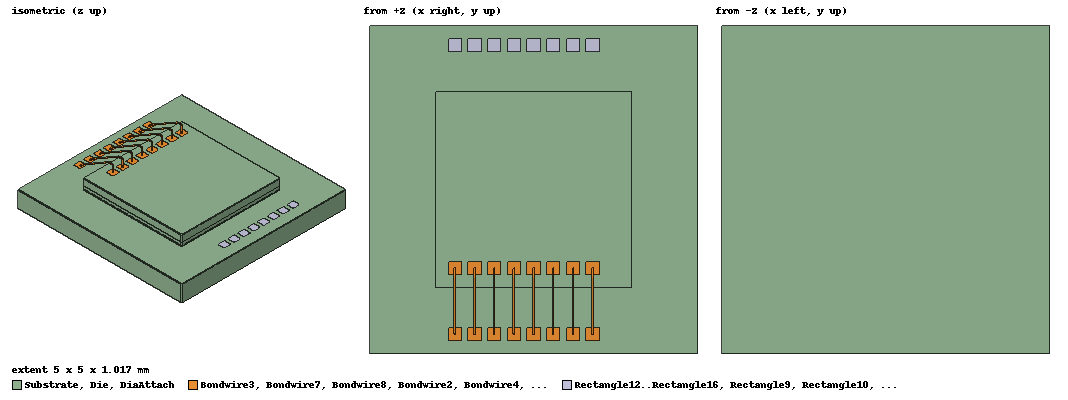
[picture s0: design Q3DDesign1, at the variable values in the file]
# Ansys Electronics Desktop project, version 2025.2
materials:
  Al-Extruded
  air: permittivity=1.0006 permeability=1.0000004
  vacuum: permittivity=1
  copper: permeability=0.999991 conductivity=58000000
  silicon: permittivity=11.9
  FR4_epoxy: permittivity=4.4 dielectric_loss_tangent=0.02
  modified_epoxy: permittivity=4.2 dielectric_loss_tangent=0.02
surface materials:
  Steel-oxidised-surface

design Q3DDesign1 (Q3D Extractor, model units mm)
options: SParamCalcMethod=EqTransLine Calculate_Lossy_Dielectrics
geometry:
  Die [silicon] = rectangle(corner=(0mm, 0mm, 0mm), x_size=3mm, y_size=3mm)
  Die.thicken(0.2mm)
  Substrate [FR4_epoxy] = rectangle(corner=(-1mm, -1mm, -0.1mm), x_size=5mm, y_size=5mm)
  Substrate.thicken(-0.5mm)
  DiaAttach [modified_epoxy] = rectangle(corner=(0mm, 0mm, 0mm), x_size=3mm, y_size=3mm)
  DiaAttach.thicken(-0.1mm)
  diebond [copper] = rectangle(corner=(0.2mm, 0.2mm, 0.2mm), x_size=0.2mm, y_size=0.2mm)
  diebond.thicken(0.005mm)
  substratebondpad [copper] = rectangle(corner=(0.5mm, -0.6mm, -0.1mm), x_size=0.2mm, y_size=-0.2mm)
  substratebondpad.thicken(0.005mm)
  Bondwire1 [copper] = bondwire(WireType=JEDEC_4Points WireDiameter=0.025mm NumSides=6 XPadPos=0.3mm YPadPos=0.3mm ZPadPos=0.205mm XDir=0mm YDir=-1mm ZDir=0mm Distance=1mm h1=0.2mm h2=0.305mm alpha=80deg beta=80deg WhichAxis=Z)
  diebond1 [copper] = rectangle(corner=(0.5mm, 0.2mm, 0.2mm), x_size=0.2mm, y_size=0.2mm)
  diebond1.thicken(0.005mm)
  substratebondpad1 [copper] = rectangle(corner=(0.8mm, -0.6mm, -0.1mm), x_size=0.2mm, y_size=-0.2mm)
  substratebondpad1.thicken(0.005mm)
  diebond2 [copper] = rectangle(corner=(0.8mm, 0.2mm, 0.2mm), x_size=0.2mm, y_size=0.2mm)
  diebond2.thicken(0.005mm)
  substratebondpad2 [copper] = rectangle(corner=(1.1mm, -0.6mm, -0.1mm), x_size=0.2mm, y_size=-0.2mm)
  substratebondpad2.thicken(0.005mm)
  diebond3 [copper] = rectangle(corner=(1.1mm, 0.2mm, 0.2mm), x_size=0.2mm, y_size=0.2mm)
  diebond3.thicken(0.005mm)
  substratebondpad3 [copper] = rectangle(corner=(1.4mm, -0.6mm, -0.1mm), x_size=0.2mm, y_size=-0.2mm)
  substratebondpad3.thicken(0.005mm)
  diebond4 [copper] = rectangle(corner=(1.4mm, 0.2mm, 0.2mm), x_size=0.2mm, y_size=0.2mm)
  diebond4.thicken(0.005mm)
  substratebondpad4 [copper] = rectangle(corner=(1.7mm, -0.6mm, -0.1mm), x_size=0.2mm, y_size=-0.2mm)
  substratebondpad4.thicken(0.005mm)
  diebond5 [copper] = rectangle(corner=(1.7mm, 0.2mm, 0.2mm), x_size=0.2mm, y_size=0.2mm)
  diebond5.thicken(0.005mm)
  substratebondpad5 [copper] = rectangle(corner=(2mm, -0.6mm, -0.1mm), x_size=0.2mm, y_size=-0.2mm)
  substratebondpad5.thicken(0.005mm)
  diebond6 [copper] = rectangle(corner=(2mm, 0.2mm, 0.2mm), x_size=0.2mm, y_size=0.2mm)
  diebond6.thicken(0.005mm)
  substratebondpad6 [copper] = rectangle(corner=(2.3mm, -0.6mm, -0.1mm), x_size=0.2mm, y_size=-0.2mm)
  substratebondpad6.thicken(0.005mm)
  diebond7 [copper] = rectangle(corner=(2.3mm, 0.2mm, 0.2mm), x_size=0.2mm, y_size=0.2mm)
  diebond7.thicken(0.005mm)
  substratebondpad7 [copper] = rectangle(corner=(0.2mm, -0.6mm, -0.1mm), x_size=0.2mm, y_size=-0.2mm)
  substratebondpad7.thicken(0.005mm)
  Bondwire2 [copper] = bondwire(WireType=JEDEC_4Points WireDiameter=0.025mm NumSides=6 XPadPos=0.6mm YPadPos=0.3mm ZPadPos=0.205mm XDir=0mm YDir=-1mm ZDir=0mm Distance=1mm h1=0.2mm h2=0.305mm alpha=80deg beta=80deg WhichAxis=Z)
  Bondwire3 [copper] = bondwire(WireType=JEDEC_4Points WireDiameter=0.025mm NumSides=6 XPadPos=0.9mm YPadPos=0.3mm ZPadPos=0.205mm XDir=-2.220446e-16mm YDir=-1mm ZDir=0mm Distance=1mm h1=0.2mm h2=0.305mm alpha=80deg beta=80deg WhichAxis=Z)
  Bondwire4 [copper] = bondwire(WireType=JEDEC_4Points WireDiameter=0.025mm NumSides=6 XPadPos=1.2mm YPadPos=0.3mm ZPadPos=0.205mm XDir=-2.220446e-16mm YDir=-1mm ZDir=0mm Distance=1mm h1=0.2mm h2=0.305mm alpha=80deg beta=80deg WhichAxis=Z)
  Bondwire5 [copper] = bondwire(WireType=JEDEC_4Points WireDiameter=0.025mm NumSides=6 XPadPos=1.5mm YPadPos=0.3mm ZPadPos=0.205mm XDir=0mm YDir=-1mm ZDir=0mm Distance=1mm h1=0.2mm h2=0.305mm alpha=80deg beta=80deg WhichAxis=Z)
  Bondwire6 [copper] = bondwire(WireType=JEDEC_4Points WireDiameter=0.025mm NumSides=6 XPadPos=1.8mm YPadPos=0.3mm ZPadPos=0.205mm XDir=-2.220446e-16mm YDir=-1mm ZDir=0mm Distance=1mm h1=0.2mm h2=0.305mm alpha=80deg beta=80deg WhichAxis=Z)
  Bondwire7 [copper] = bondwire(WireType=JEDEC_4Points WireDiameter=0.025mm NumSides=6 XPadPos=2.1mm YPadPos=0.3mm ZPadPos=0.205mm XDir=-4.4408921e-16mm YDir=-1mm ZDir=0mm Distance=1mm h1=0.2mm h2=0.305mm alpha=80deg beta=80deg WhichAxis=Z)
  Bondwire8 [copper] = bondwire(WireType=JEDEC_4Points WireDiameter=0.025mm NumSides=6 XPadPos=2.4mm YPadPos=0.3mm ZPadPos=0.205mm XDir=-4.4408921e-16mm YDir=-1mm ZDir=0mm Distance=1mm h1=0.2mm h2=0.305mm alpha=80deg beta=80deg WhichAxis=Z)
  Rectangle1 [copper] = rectangle(corner=(0.4mm, 2.8mm, 0mm), x_size=-0.2mm, y_size=-0.2mm)
  Rectangle2 [copper] = rectangle(corner=(0.5mm, 2.8mm, 0mm), x_size=0.2mm, y_size=-0.2mm)
  Rectangle3 [copper] = rectangle(corner=(1mm, 2.6mm, 0mm), x_size=-0.2mm, y_size=0.2mm)
  Rectangle4 [copper] = rectangle(corner=(1.1mm, 2.8mm, 0mm), x_size=0.2mm, y_size=-0.2mm)
  Rectangle5 [copper] = rectangle(corner=(1.4mm, 2.8mm, 0mm), x_size=0.2mm, y_size=-0.2mm)
  Rectangle6 [copper] = rectangle(corner=(1.7mm, 2.8mm, 0mm), x_size=0.2mm, y_size=-0.2mm)
  Rectangle7 [copper] = rectangle(corner=(2mm, 2.8mm, 0mm), x_size=0.2mm, y_size=-0.2mm)
  Rectangle8 [copper] = rectangle(corner=(2.3mm, 2.8mm, 0mm), x_size=0.2mm, y_size=-0.2mm)
  Rectangle9 [copper] = rectangle(corner=(0.4mm, 3.8mm, 0mm), x_size=-0.2mm, y_size=-0.2mm)
  Rectangle10 [copper] = rectangle(corner=(0.5mm, 3.8mm, 0mm), x_size=0.2mm, y_size=-0.2mm)
  Rectangle11 [copper] = rectangle(corner=(0.8mm, 3.8mm, 0mm), x_size=0.2mm, y_size=-0.2mm)
  Rectangle12 [copper] = rectangle(corner=(1.1mm, 3.8mm, 0mm), x_size=0.2mm, y_size=-0.2mm)
  Rectangle13 [copper] = rectangle(corner=(1.4mm, 3.8mm, 0mm), x_size=0.2mm, y_size=-0.2mm)
  Rectangle14 [copper] = rectangle(corner=(1.7mm, 3.8mm, 0mm), x_size=0.2mm, y_size=-0.2mm)
  Rectangle15 [copper] = rectangle(corner=(2mm, 3.8mm, 0mm), x_size=0.2mm, y_size=-0.2mm)
  Rectangle16 [copper] = rectangle(corner=(2.3mm, 3.8mm, 0mm), x_size=0.2mm, y_size=-0.2mm)
  Rectangle17 [copper] = rectangle(corner=(2.6mm, 2.4mm, 0mm), x_size=0.2mm, y_size=0.2mm)
  Rectangle18 [copper] = rectangle(corner=(2.6mm, 2.3mm, 0mm), x_size=0.2mm, y_size=-0.2mm)
  Rectangle19 [copper] = rectangle(corner=(2.6mm, 2mm, 0mm), x_size=0.2mm, y_size=-0.2mm)
  Rectangle20 [copper] = rectangle(corner=(2.6mm, 1.7mm, 0mm), x_size=0.2mm, y_size=-0.2mm)
  Rectangle21 [copper] = rectangle(corner=(2.6mm, 1.4mm, 0mm), x_size=0.2mm, y_size=-0.2mm)
  Rectangle22 [copper] = rectangle(corner=(2.6mm, 1.1mm, 0mm), x_size=0.2mm, y_size=-0.2mm)
  Rectangle23 [copper] = rectangle(corner=(2.6mm, 0.8mm, 0mm), x_size=0.2mm, y_size=-0.2mm)
  Rectangle24 [copper] = rectangle(corner=(2.6mm, 0.5mm, 0mm), x_size=0.2mm, y_size=-0.2mm)
